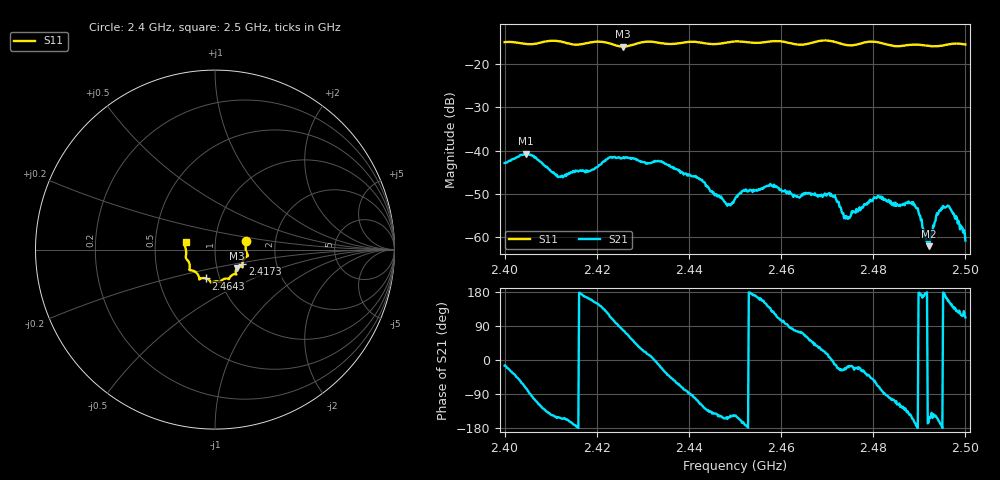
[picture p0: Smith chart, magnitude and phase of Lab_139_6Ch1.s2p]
# Hz S RI R 50
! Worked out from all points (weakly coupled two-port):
!   601 points, 2.4 GHz to 2.5 GHz, reference 50 ohm
!   highest |S21| = -40.69 dB at 2.4047 GHz (marker M1); lowest = -62.1 dB at 2.492 GHz (marker M2)
!   lowest |S11| = -15.9 dB at 2.4257 GHz (marker M3), VSWR 1.38, Z = 62.5 - j13.1 ohm
!   |S11| at or under -10 dB: start of sweep to end of sweep
!   S12 and S22 are empty: the file has one direction only
!   S11 on the Smith chart (normalised r, x): 2.4 GHz: 1.41, +0.14; 2.4173 GHz: 1.34, -0.23; 2.4643 GHz: 0.86, -0.28; 2.5 GHz: 0.72, +0.06
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2.4e9  0.1731 0.0494  0.00696 -0.00184  0 0  0 0
2.404667e9  0.1706 0.0178  0.00246 -0.0089  0 0  0 0
2.411667e9  0.1815 -0.036  -0.00433 -0.00239  0 0  0 0
2.416667e9  0.1529 -0.0748  -0.00579 0.000639  0 0  0 0
2.417333e9  0.1521 -0.0822  -0.0057 0.00118  0 0  0 0
2.425667e9  0.1229 -0.1022  0.00162 0.00817  0 0  0 0
2.433333e9  0.1128 -0.137  0.00748 -0.00145  0 0  0 0
2.442333e9  0.0732 -0.1632  -0.002 -0.00422  0 0  0 0
2.4485e9  0.0337 -0.176  -0.00213 -0.00116  0 0  0 0
2.45e9  0.0295 -0.1809  -0.00231 -0.00152  0 0  0 0
2.457333e9  -0.0153 -0.1815  -0.00302 0.00255  0 0  0 0
2.464333e9  -0.0497 -0.1605  0.000963 0.00284  0 0  0 0
2.466667e9  -0.0759 -0.1596  0.00209 0.00239  0 0  0 0
2.471333e9  -0.0873 -0.1613  0.0029 -0.000264  0 0  0 0
2.474167e9  -0.0986 -0.1345  0.00164 -0.000608  0 0  0 0
2.480667e9  -0.143 -0.1112  0.00131 -0.00249  0 0  0 0
2.483333e9  -0.1408 -0.0899  -0.000365 -0.00268  0 0  0 0
2.489167e9  -0.1626 -0.0452  -0.00219 -0.000468  0 0  0 0
2.492e9  -0.1607 -0.0255  -0.000761 -0.000197  0 0  0 0
2.494e9  -0.1618 -0.00198  -0.00165 -0.000766  0 0  0 0
2.495667e9  -0.1662 0.0162  -0.00216 0.000433  0 0  0 0
2.5e9  -0.1636 0.0418  -0.000348 0.000845  0 0  0 0
